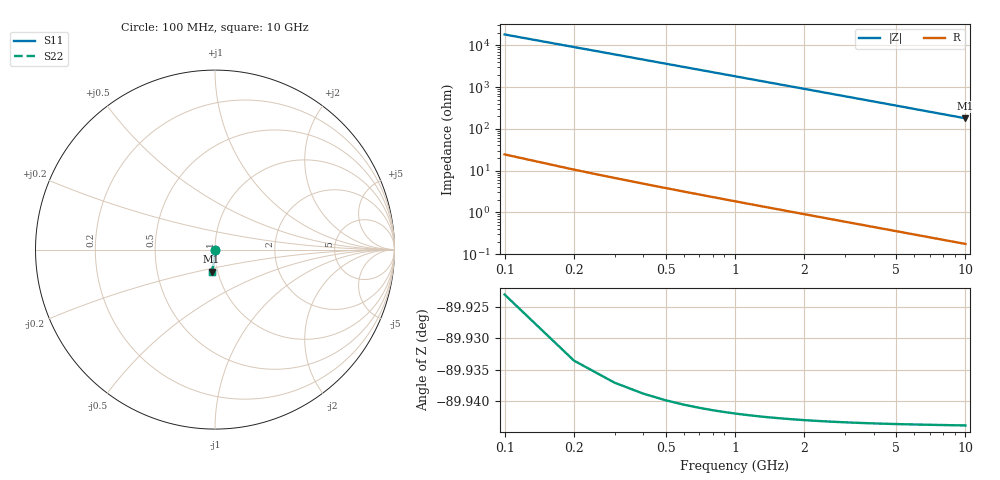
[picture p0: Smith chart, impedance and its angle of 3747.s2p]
# Hz S RI R 50.00
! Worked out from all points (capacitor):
!   100 points, 100 MHz to 10 GHz, reference 50 ohm
!   read as one part in shunt: C = 87.3 fF near 100 MHz
!   lowest |Z| = 179 ohm at 10 GHz (marker M1)
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1e8  2.71e-05 -0.00124  1 -0.0015  1 -0.0015  2.71e-05 -0.00124
2e8  2.03e-05 -0.00248  1 -0.003  1 -0.003  2.03e-05 -0.00248
3e8  9.81e-06 -0.00372  0.9999 -0.00451  0.9999 -0.00451  9.81e-06 -0.00372
4e8  -4.46e-06 -0.00497  0.9999 -0.00601  0.9999 -0.00601  -4.46e-06 -0.00497
5e8  -2.25e-05 -0.00621  0.9999 -0.00751  0.9999 -0.00751  -2.25e-05 -0.00621
6e8  -4.43e-05 -0.00745  0.9999 -0.00902  0.9999 -0.00902  -4.43e-05 -0.00745
7e8  -6.98e-05 -0.00869  0.9999 -0.0105  0.9999 -0.0105  -6.98e-05 -0.00869
8e8  -9.91e-05 -0.00994  0.9998 -0.012  0.9998 -0.012  -9.91e-05 -0.00994
9e8  -0.000132 -0.0112  0.9998 -0.0135  0.9998 -0.0135  -0.000132 -0.0112
1.1e9  -0.000209 -0.0137  0.9997 -0.0165  0.9997 -0.0165  -0.000209 -0.0137
1.4e9  -0.000354 -0.0174  0.9996 -0.0211  0.9996 -0.0211  -0.000354 -0.0174
1.8e9  -0.000599 -0.0224  0.9993 -0.0271  0.9993 -0.0271  -0.000599 -0.0224
2.1e9  -0.000823 -0.0261  0.9991 -0.0316  0.9991 -0.0316  -0.000823 -0.0261
2.5e9  -0.00117 -0.0311  0.9987 -0.0376  0.9987 -0.0376  -0.00117 -0.0311
2.9e9  -0.00159 -0.0361  0.9983 -0.0437  0.9983 -0.0437  -0.00159 -0.0361
3.4e9  -0.00219 -0.0423  0.9977 -0.0513  0.9977 -0.0513  -0.00219 -0.0423
4.2e9  -0.00335 -0.0523  0.9965 -0.0634  0.9965 -0.0634  -0.00335 -0.0523
5.1e9  -0.00495 -0.0636  0.9949 -0.077  0.9949 -0.077  -0.00495 -0.0636
5.9e9  -0.00664 -0.0735  0.9932 -0.0891  0.9932 -0.0891  -0.00664 -0.0735
6.7e9  -0.00857 -0.0835  0.9912 -0.1012  0.9912 -0.1012  -0.00857 -0.0835
8.4e9  -0.0135 -0.1044  0.9862 -0.1267  0.9862 -0.1267  -0.0135 -0.1044
1e10  -0.0191 -0.1238  0.9805 -0.1505  0.9805 -0.1505  -0.0191 -0.1238
